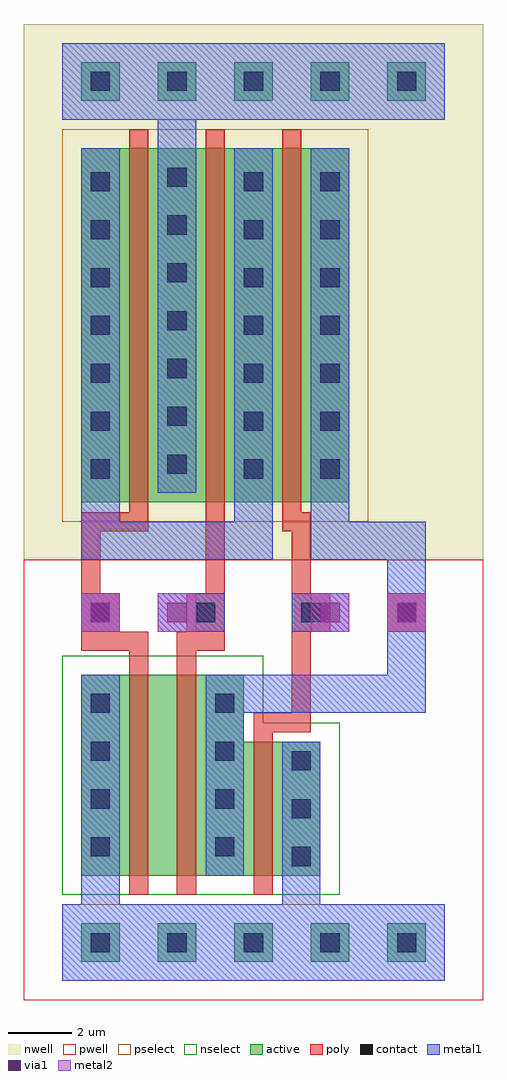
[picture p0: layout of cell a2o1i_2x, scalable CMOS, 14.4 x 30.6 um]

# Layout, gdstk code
import gdstk
lib = gdstk.Library(unit=1e-6, precision=1e-09)
def R(c, l, rs):  # rectangles x0, y0, x1, y1
    for r in rs: c.add(gdstk.rectangle(r[:2], r[2:], *l))
def A(c, l, x, y, w, h, nx, ny, dx, dy):  # array of equal rectangles
    R(c, l, [(x+i*dx, y+j*dy, x+i*dx+w, y+j*dy+h) for i in range(nx) for j in range(ny)])
contact = (25, 0)
pwell = (41, 0)
nwell = (42, 0)
active = (43, 0)
pselect = (44, 0)
nselect = (45, 0)
poly = (46, 0)
metal1 = (49, 0)
via1 = (50, 0)
metal2 = (51, 0)

a2o1i_2x = lib.new_cell('a2o1i_2x')
A(a2o1i_2x, contact, 0.9, -0.3, 0.6, 0.6, 5, 2, 2.4, 27)
A(a2o1i_2x, contact, 7.2, 2.4, 0.6, 0.6, 1, 3, 0, 1.5)
A(a2o1i_2x, contact, 0.9, 2.7, 0.6, 0.6, 1, 4, 0, 1.5)
A(a2o1i_2x, contact, 4.8, 2.7, 0.6, 0.6, 1, 4, 0, 1.5)
A(a2o1i_2x, contact, 0.9, 10.05, 0.6, 0.6, 3, 1, 3.3, 0)
A(a2o1i_2x, contact, 0.9, 14.55, 0.6, 0.6, 1, 7, 0, 1.5)
A(a2o1i_2x, contact, 5.7, 14.55, 0.6, 0.6, 1, 7, 0, 1.5)
A(a2o1i_2x, contact, 8.1, 14.55, 0.6, 0.6, 1, 7, 0, 1.5)
A(a2o1i_2x, contact, 3.3, 14.7, 0.6, 0.6, 1, 7, 0, 1.5)
R(a2o1i_2x, contact, [(10.5,10.05,11.1,10.65)])
A(a2o1i_2x, pwell, -0.3, -1.5, 3, 3, 5, 1, 2.4, 0)
R(a2o1i_2x, pwell, [(-1.2,-1.8,13.2,12), (-1.2,0.3,3.6,10.2), (-0.6,0.3,5.4,10.2), (0.9,0.3,6.9,10.2), (2.7,0.3,7.5,10.2), (3.3,0.3,9.3,8.1), (5.1,0.3,9.9,8.1), (2.775,1.35,7.425,5.85), (5.175,1.35,9.75,5.85), (-1.05,1.95,3.525,6.45), (0.525,1.95,5.775,6.45), (2.775,1.95,7.35,6.45)])
A(a2o1i_2x, nwell, -0.6, 12, 6, 14.7, 3, 1, 2.4, 0)
A(a2o1i_2x, nwell, -0.3, 25.5, 3, 3, 5, 1, 2.4, 0)
R(a2o1i_2x, nwell, [(-1.2,12,3.6,26.7), (-1.2,12,13.2,28.8), (3.6,12,8.4,26.7), (6,12,10.8,26.7), (1.2,12.3,6,26.7), (3.75,17.25,8.325,21.75), (6.075,17.25,10.65,21.75), (3.675,17.55,8.25,22.05), (-1.05,19.65,3.525,24.15), (1.275,19.65,5.85,24.15), (1.35,19.65,5.925,24.15)])
A(a2o1i_2x, active, 0.6, -0.6, 1.2, 1.2, 5, 2, 2.4, 27)
A(a2o1i_2x, active, 1.2, 13.8, 2.4, 11.1, 3, 1, 2.4, 0)
R(a2o1i_2x, active, [(0.6,2.1,1.8,8.4), (1.2,2.1,3.6,8.4), (2.7,2.1,5.1,8.4), (4.5,2.1,5.7,8.4), (5.1,2.1,7.5,6.3), (6.9,2.1,8.1,6.3), (4.575,3.15,5.625,4.05), (6.975,3.15,7.95,4.05), (0.75,3.75,1.725,4.65), (2.325,3.75,3.975,4.65), (4.575,3.75,5.55,4.65), (0.6,13.8,1.8,24.9), (5.4,13.8,6.6,24.9), (7.8,13.8,9,24.9), (3,14.1,4.2,24.9), (5.55,19.05,6.525,19.95), (7.875,19.05,8.85,19.95), (5.475,19.35,6.45,20.25), (0.75,21.45,1.725,22.35), (3.075,21.45,4.05,22.35), (3.15,21.45,4.125,22.35)])
A(a2o1i_2x, pselect, 0, -1.2, 2.4, 2.4, 5, 1, 2.4, 0)
A(a2o1i_2x, pselect, 0.6, 13.2, 3.6, 12.3, 3, 1, 2.4, 0)
R(a2o1i_2x, pselect, [(0,13.2,2.4,25.5), (4.8,13.2,7.2,25.5), (7.2,13.2,9.6,25.5), (2.4,13.5,4.8,25.5), (4.95,18.45,7.125,20.55), (7.275,18.45,9.45,20.55), (4.875,18.75,7.05,20.85), (0.15,20.85,2.325,22.95), (2.475,20.85,4.65,22.95), (2.55,20.85,4.725,22.95)])
A(a2o1i_2x, nselect, 0, 25.8, 2.4, 2.4, 5, 1, 2.4, 0)
R(a2o1i_2x, nselect, [(0,1.5,2.4,9), (0.6,1.5,4.2,9), (2.1,1.5,5.7,9), (3.9,1.5,6.3,9), (4.5,1.5,8.1,6.9), (6.3,1.5,8.7,6.9), (3.975,2.55,6.225,4.65), (6.375,2.55,8.55,4.65), (0.15,3.15,2.325,5.25), (1.725,3.15,4.575,5.25), (3.975,3.15,6.15,5.25)])
A(a2o1i_2x, poly, 0.6, 9.75, 1.2, 1.2, 3, 1, 3.3, 0)
A(a2o1i_2x, poly, 2.1, 13.2, 0.6, 12.3, 3, 1, 2.4, 0)
R(a2o1i_2x, poly, [(2.1,1.5,2.7,9), (3.6,1.5,4.2,9), (6,1.5,6.6,6.9), (6,6.6,7.8,7.2), (7.2,6.6,7.8,10.5), (2.1,8.7,2.7,9.75), (3.6,8.7,4.2,9.75), (0.6,9.15,2.7,9.75), (0.6,9.15,1.2,13.5), (0.6,9.15,1.5,9.75), (0.9,9.15,1.5,10.5), (3.6,9.15,5.1,9.75), (4.5,9.15,5.1,13.5), (4.5,9.15,5.1,10.65), (10.2,9.75,11.4,10.95), (7.2,9.9,8.1,10.5), (7.2,9.9,7.8,13.5), (4.2,10.05,5.1,10.65), (0.6,12.9,2.7,13.5), (6.9,12.9,7.8,13.5)])
A(a2o1i_2x, metal1, 0, -1.2, 4.8, 2.4, 4, 2, 2.4, 27)
A(a2o1i_2x, metal1, 0.6, -0.6, 1.2, 1.2, 5, 1, 2.4, 0)
A(a2o1i_2x, metal1, 0.6, 26.4, 1.2, 1.2, 4, 1, 2.4, 0)
R(a2o1i_2x, metal1, [(0,-1.2,4.8,1.2), (6.3,-1.2,9.6,1.2), (9.6,-1.2,12,1.2), (0.6,-0.6,1.8,3.15), (6.9,-0.6,8.1,3.15), (0.75,-0.45,1.65,0.45), (7.95,-0.45,8.85,0.45), (0.6,2.1,1.8,8.4), (4.5,2.1,5.7,8.4), (6.9,2.1,8.1,6.3), (4.5,5.25,5.7,8.4), (4.5,7.2,11.4,8.4), (10.2,7.2,11.4,10.8), (4.65,7.35,5.55,8.25), (10.2,9.6,11.4,10.8), (10.2,9.6,11.4,13.2), (0.6,9.75,1.8,10.95), (0.6,9.75,1.8,10.95), (0.75,9.75,1.65,10.8), (3,9.75,4.2,10.95), (3.9,9.75,5.1,10.95), (7.2,9.75,8.4,10.95), (7.35,9.75,8.85,10.65), (7.8,9.75,9,10.95), (7.95,9.75,8.85,10.8), (10.2,9.75,11.4,10.95), (10.2,9.75,11.4,10.95), (3.15,9.9,4.95,10.8), (0.6,12,1.8,19.95), (0.6,12,6.6,13.2), (5.4,12,6.6,14.85), (7.8,12,9,19.95), (7.8,12,11.4,13.2), (0.6,13.8,1.8,24.9), (5.4,13.8,6.6,24.9), (7.8,13.8,9,24.9), (3,14.1,4.2,24.9), (3,23.7,4.2,27.6), (0,25.8,2.4,28.2), (0,25.8,4.8,28.2), (2.4,25.8,9.6,28.2), (0.6,26.4,1.8,27.6), (7.8,26.4,9,27.6), (10.2,26.4,11.4,27.6), (0.75,26.55,1.65,27.45)])
R(a2o1i_2x, via1, [(0.9,10.05,1.5,10.65), (3.3,10.05,3.9,10.65), (8.1,10.05,8.7,10.65), (10.5,10.05,11.1,10.65)])
R(a2o1i_2x, metal2, [(0.6,9.75,1.8,10.95), (3,9.75,4.2,10.95), (7.8,9.75,9,10.95), (10.2,9.75,11.4,10.95)])

lib.write_gds('a2o1i_2x.gds')
